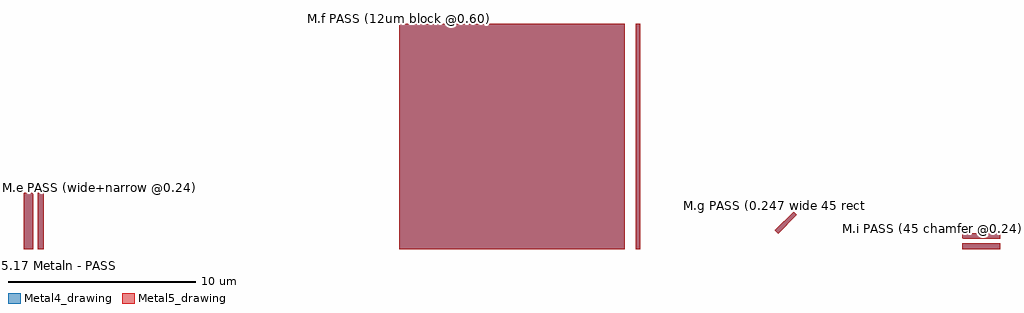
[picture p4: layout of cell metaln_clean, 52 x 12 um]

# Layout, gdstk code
import gdstk
lib = gdstk.Library(unit=1e-6, precision=1e-09)
def R(c, l, rs):  # rectangles x0, y0, x1, y1
    for r in rs: c.add(gdstk.rectangle(r[:2], r[2:], *l))
def P(c, l, *ps):  # polygons
    for p in ps: c.add(gdstk.Polygon(p, *l))
Metal4_drawing = (50, 0)
Metal5_drawing = (67, 0)

metaln_clean = lib.new_cell('metaln_clean')
R(metaln_clean, Metal4_drawing, [(0,0,0.5,3), (0.74,0,1.04,3), (20,0,32,12), (32.6,0,32.84,12), (50,0,52,0.3)])
P(metaln_clean, Metal4_drawing, [(40.175,0.825),(40,1),(41,2),(41.175,1.825)],
  [(50.05,0.54),(50,0.59),(50,0.84),(52,0.84),(52,0.54)])
R(metaln_clean, Metal5_drawing, [(0,0,0.5,3), (0.74,0,1.04,3), (20,0,32,12), (32.6,0,32.84,12), (50,0,52,0.3)])
P(metaln_clean, Metal5_drawing, [(40.175,0.825),(40,1),(41,2),(41.175,1.825)],
  [(50.05,0.54),(50,0.59),(50,0.84),(52,0.84),(52,0.54)])
metaln_clean.add(gdstk.Label('5.17 Metaln - PASS', (0,-1), layer=63, texttype=0))
metaln_clean.add(gdstk.Label('M.e PASS (wide+narrow @0.24)', (0,3.3), layer=63, texttype=0))
metaln_clean.add(gdstk.Label('M.f PASS (12um block @0.60)', (20,12.3), layer=63, texttype=0))
metaln_clean.add(gdstk.Label('M.g PASS (0.247 wide 45 rect)', (40,2.3), layer=63, texttype=0))
metaln_clean.add(gdstk.Label('M.i PASS (45 chamfer @0.24)', (50,1.1), layer=63, texttype=0))

lib.write_gds('metaln_clean.gds')
